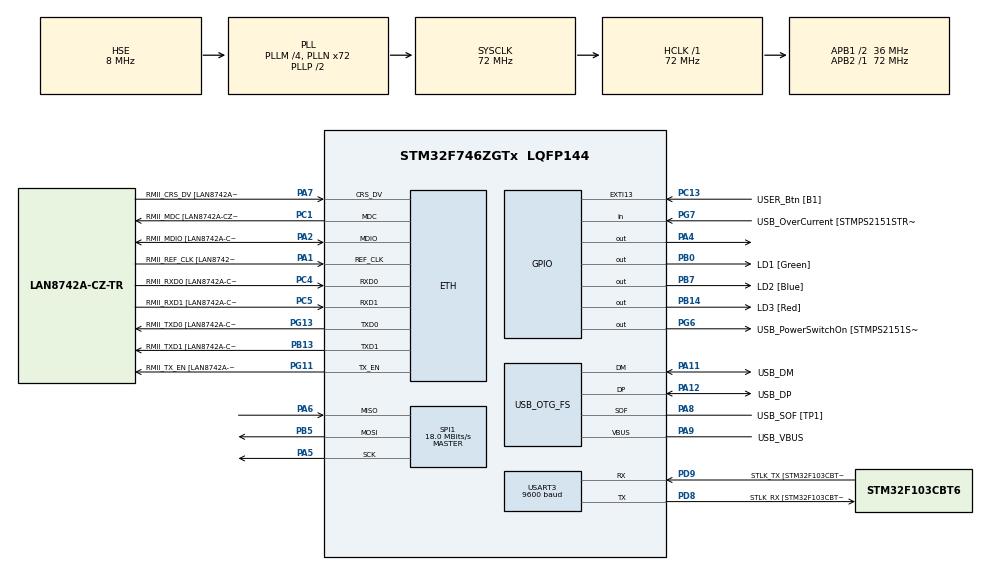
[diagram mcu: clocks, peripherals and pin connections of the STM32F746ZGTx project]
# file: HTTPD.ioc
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Dma.Request0=SPI1_RX
Dma.Request1=SPI1_TX
Dma.SPI1_RX.0.Direction=DMA_PERIPH_TO_MEMORY
Dma.SPI1_RX.0.FIFOMode=DMA_FIFOMODE_DISABLE
Dma.SPI1_RX.0.Instance=DMA2_Stream2
Dma.SPI1_RX.0.MemDataAlignment=DMA_MDATAALIGN_BYTE
Dma.SPI1_RX.0.MemInc=DMA_MINC_ENABLE
Dma.SPI1_RX.0.Mode=DMA_NORMAL
Dma.SPI1_RX.0.PeriphDataAlignment=DMA_PDATAALIGN_BYTE
Dma.SPI1_RX.0.PeriphInc=DMA_PINC_DISABLE
Dma.SPI1_RX.0.Priority=DMA_PRIORITY_LOW
Dma.SPI1_TX.1.Direction=DMA_MEMORY_TO_PERIPH
Dma.SPI1_TX.1.FIFOMode=DMA_FIFOMODE_DISABLE
Dma.SPI1_TX.1.Instance=DMA2_Stream3
Dma.SPI1_TX.1.MemDataAlignment=DMA_MDATAALIGN_BYTE
Dma.SPI1_TX.1.MemInc=DMA_MINC_ENABLE
Dma.SPI1_TX.1.Mode=DMA_NORMAL
Dma.SPI1_TX.1.PeriphDataAlignment=DMA_PDATAALIGN_BYTE
Dma.SPI1_TX.1.PeriphInc=DMA_PINC_DISABLE
Dma.SPI1_TX.1.Priority=DMA_PRIORITY_LOW
ETH.MediaInterface=HAL_ETH_RMII_MODE
ETH.PHY_Name=LAN8742A_PHY_ADDRESS
ETH.PHY_Value=0
ETH.PhyAddress=0
LWIP.BSP.number=1
LWIP.LWIP_HTTPD=1
LWIP.LWIP_HTTPD_CGI=1
LWIP.LWIP_HTTPD_SSI=1
LWIP.Version=v2.1.2_Cube
LWIP0.BSP.STBoard=false
LWIP0.BSP.api=BSP_COMPONENT_DRIVER
LWIP0.BSP.component=LAN8742
LWIP0.BSP.instance=LAN8742
LWIP0.BSP.name=Driver_PHY
LWIP0.BSP.semaphore=S_LAN8742
LWIP0.BSP.solution=LAN8742
Mcu.Family=STM32F7
Mcu.Name=STM32F746ZGTx
Mcu.Package=LQFP144
NVIC.DMA2_Stream2_IRQn=true\:0\:0\:false\:false\:true\:false\:true\:true
NVIC.DMA2_Stream3_IRQn=true\:0\:0\:false\:false\:true\:false\:true\:true
NVIC.ETH_IRQn=true\:0\:0\:false\:false\:false\:true\:true\:true
NVIC.PriorityGroup=NVIC_PRIORITYGROUP_4
PA1.GPIO_Label=RMII_REF_CLK [LAN8742A-CZ-TR_REFCLK0]
PA1.Mode=RMII
PA1.Signal=ETH_REF_CLK
PA10.GPIO_Label=USB_ID
PA10.Signal=USB_OTG_FS_ID
PA11.GPIO_Label=USB_DM
PA11.Mode=Device_Only
PA11.Signal=USB_OTG_FS_DM
PA12.GPIO_Label=USB_DP
PA12.Mode=Device_Only
PA12.Signal=USB_OTG_FS_DP
PA13.GPIO_Label=TMS
PA13.Mode=Serial_Wire
PA13.Signal=SYS_JTMS-SWDIO
PA14.GPIO_Label=TCK
PA14.Mode=Serial_Wire
PA14.Signal=SYS_JTCK-SWCLK
PA2.GPIO_Label=RMII_MDIO [LAN8742A-CZ-TR_MDIO]
PA2.Mode=RMII
PA2.Signal=ETH_MDIO
PA4.Signal=GPIO_Output
PA5.Mode=Full_Duplex_Master
PA5.Signal=SPI1_SCK
PA6.Mode=Full_Duplex_Master
PA6.Signal=SPI1_MISO
PA7.GPIO_Label=RMII_CRS_DV [LAN8742A-CZ-TR_CRS_DV]
PA7.Mode=RMII
PA7.Signal=ETH_CRS_DV
PA8.GPIO_Label=USB_SOF [TP1]
PA8.Mode=Activate_SOF_FS
PA8.Signal=USB_OTG_FS_SOF
PA9.GPIO_Label=USB_VBUS
PA9.Mode=Activate_VBUS
PA9.Signal=USB_OTG_FS_VBUS
PB0.GPIO_Label=LD1 [Green]
PB0.Signal=GPIO_Output
PB13.GPIO_Label=RMII_TXD1 [LAN8742A-CZ-TR_TXD1]
PB13.Mode=RMII
PB13.Signal=ETH_TXD1
PB14.GPIO_Label=LD3 [Red]
PB14.Signal=GPIO_Output
PB3.GPIO_Label=SW0
PB3.Signal=SYS_JTDO-SWO
PB5.Mode=Full_Duplex_Master
PB5.Signal=SPI1_MOSI
PB7.GPIO_Label=LD2 [Blue]
PB7.Signal=GPIO_Output
PC1.GPIO_Label=RMII_MDC [LAN8742A-CZ-TR_MDC]
PC1.Mode=RMII
PC1.Signal=ETH_MDC
PC13.GPIO_Label=USER_Btn [B1]
PC13.Signal=GPXTI13
PC14/OSC32_IN.Mode=LSE-External-Oscillator
PC14/OSC32_IN.Signal=RCC_OSC32_IN
PC15/OSC32_OUT.Mode=LSE-External-Oscillator
PC15/OSC32_OUT.Signal=RCC_OSC32_OUT
PC4.GPIO_Label=RMII_RXD0 [LAN8742A-CZ-TR_RXD0]
PC4.Mode=RMII
PC4.Signal=ETH_RXD0
PC5.GPIO_Label=RMII_RXD1 [LAN8742A-CZ-TR_RXD1]
PC5.Mode=RMII
PC5.Signal=ETH_RXD1
PD8.GPIO_Label=STLK_RX [STM32F103CBT6_PA3]
PD8.GPIO_PuPd=GPIO_PULLUP
PD8.Mode=Asynchronous
PD8.Signal=USART3_TX
PD9.GPIO_Label=STLK_TX [STM32F103CBT6_PA2]
PD9.GPIO_PuPd=GPIO_PULLUP
PD9.Mode=Asynchronous
PD9.Signal=USART3_RX
PG11.GPIO_Label=RMII_TX_EN [LAN8742A-CZ-TR_TXEN]
PG11.Mode=RMII
PG11.Signal=ETH_TX_EN
PG13.GPIO_Label=RMII_TXD0 [LAN8742A-CZ-TR_TXD0]
PG13.Mode=RMII
PG13.Signal=ETH_TXD0
PG6.GPIO_Label=USB_PowerSwitchOn [STMPS2151STR_EN]
PG6.Signal=GPIO_Output
PG7.GPIO_Label=USB_OverCurrent [STMPS2151STR_FAULT]
PG7.Signal=GPIO_Input
PH0/OSC_IN.GPIO_Label=MCO [STM32F103CBT6_PA8]
PH0/OSC_IN.Mode=HSE-External-Clock-Source
PH0/OSC_IN.Signal=RCC_OSC_IN
PH1/OSC_OUT.Mode=HSE-External-Clock-Source
PH1/OSC_OUT.Signal=RCC_OSC_OUT
ProjectManager.HeapSize=0x200
ProjectManager.StackSize=0x400
ProjectManager.TargetToolchain=STM32CubeIDE
RCC.48MHZClocksFreq_Value=24000000
RCC.AHBFreq_Value=72000000
RCC.APB1CLKDivider=RCC_HCLK_DIV2
RCC.APB1Freq_Value=36000000
RCC.APB1TimFreq_Value=72000000
RCC.APB2Freq_Value=72000000
RCC.APB2TimFreq_Value=72000000
RCC.CortexFreq_Value=72000000
RCC.HCLKFreq_Value=72000000
RCC.HSE_VALUE=8000000
RCC.HSI_VALUE=16000000
RCC.PLLM=4
RCC.PLLMUL=RCC_PLL_MUL9
RCC.PLLN=72
RCC.PLLQ=3
RCC.PRESCALERUSB=RCC_USBCLKSOURCE_PLL_DIV1_5
RCC.SYSCLKFreq_VALUE=72000000
RCC.SYSCLKSource=RCC_SYSCLKSOURCE_PLLCLK
RCC.SYSCLKSourceVirtual=RCC_SYSCLKSOURCE_PLLCLK
RCC.USBFreq_Value=48000000
RCC.VCOOutputFreq_Value=144000000
SPI1.BaudRatePrescaler=SPI_BAUDRATEPRESCALER_4
SPI1.CalculateBaudRate=18.0 MBits/s
SPI1.DataSize=SPI_DATASIZE_8BIT
SPI1.Direction=SPI_DIRECTION_2LINES
SPI1.Mode=SPI_MODE_MASTER
SPI1.VirtualType=VM_MASTER
USART3.BaudRate=9600
USART3.VirtualMode-Asynchronous=VM_ASYNC
USB_OTG_FS.VirtualMode=Device_Only
VP_LWIP_VS_Enabled.Mode=Enabled
board=NUCLEO-F746ZG

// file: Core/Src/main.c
/* USER CODE BEGIN Header */
/**
  ******************************************************************************
  * @file           : main.c
  * @brief          : Main program body
  ******************************************************************************
  * @attention
  *
  * Copyright (c) 2024 STMicroelectronics.
  * All rights reserved.
  *
  * This software is licensed under terms that can be found in the LICENSE file
  * in the root directory of this software component.
  * If no LICENSE file comes with this software, it is provided AS-IS.
  *
  ******************************************************************************
  */
/* USER CODE END Header */
#include "main.h"
#include "lwip.h"

/* USER CODE BEGIN Includes */
#include "lwip/apps/httpd.h"
#include <stdio.h>
/* USER CODE END Includes */

SPI_HandleTypeDef hspi1;
DMA_HandleTypeDef hdma_spi1_rx;
DMA_HandleTypeDef hdma_spi1_tx;

UART_HandleTypeDef huart3;

PCD_HandleTypeDef hpcd_USB_OTG_FS;

void SystemClock_Config(void);
static void MX_GPIO_Init(void);
static void MX_DMA_Init(void);
static void MX_USB_OTG_FS_PCD_Init(void);
static void MX_SPI1_Init(void);
static void MX_USART3_UART_Init(void);

/* USER CODE BEGIN 0 */
char temperature1[16];
char pressure1[16];
char humidity1[16];
uint8_t green = 0;
uint8_t blue = 0;
uint8_t red = 0;
uint8_t tempread[8];
uint8_t config[2];
uint8_t addr[1];
uint8_t comp[32];
uint8_t buf[2];
char uart_buf[50];
int uart_len;
int indx;
volatile int temperature_raw;
volatile int pressure_raw;
volatile int humidity_raw;
int finaltemp = 0;
double finalpres;
double finalhumid;
int t_fine = 0;
float outtemp, outpres, outhum;
unsigned short dig_T1, dig_P1, dig_H1, dig_H3;
signed short dig_T2, dig_T3, dig_P2, dig_P3, dig_P4, dig_P5, dig_P6, dig_P7, dig_P8, dig_P9,
dig_H2, dig_H4, dig_H5, dig_H6;
const char *LEDGREEN(int index, int numParams, char *pcParam[], char *pcValue)
{
	if(green == 0)
	{
		green++;
	}
	else if(green == 1)
	{
		green--;
	}
	return "/LED.html";
}
const char *LEDRED(int LED, int numParam, char *pcParam[], char *pcValue)
{
	if(red == 0)
	{
		red++;
	}
	else if(red == 1)
	{
		red--;
	}
	return "/LED.html";
}
const char *LEDBLUE(int LED, int numParams, char *pcParam[], char *pcValue)
{
	if(blue == 0)
	{
		blue++;
	}
	else if(blue == 1)
	{
		blue--;
	}
	return "/LED.html";
}

static u16_t ssi_handler(int iIndex, char *pcInsert, int iInsertLen) {
    switch (iIndex) {
        case 0: sprintf(pcInsert, "%s", finaltemp);
        break;
        case 1: sprintf(pcInsert, "%s", finalpres);
        break;
        case 2: sprintf(pcInsert, "%s", finalhumid);
        break;
    }
return  0;
}

char const *ssi_tags[] = {
    "x",
    "y",
    "z",
};

void Get_ID()
{
	addr[0] = 0xD0;
	HAL_GPIO_WritePin(GPIOA, GPIO_PIN_4, GPIO_PIN_RESET);
	HAL_SPI_Transmit_DMA(&hspi1, addr, 1);
	HAL_SPI_Receive_DMA(&hspi1, buf, 1);
	HAL_GPIO_WritePin(GPIOA, GPIO_PIN_4, GPIO_PIN_SET);
}

void Wake_Up()
{
	config[0] = 0x74;
	config[1] = 0x25;
	HAL_GPIO_WritePin(GPIOA, GPIO_PIN_4, GPIO_PIN_RESET);
	HAL_SPI_Transmit_DMA(&hspi1, config, 2);
	HAL_GPIO_WritePin(GPIOA, GPIO_PIN_4, GPIO_PIN_SET);

	config[0] = 0x75;
	config[1] = 0xA0;
	HAL_GPIO_WritePin(GPIOA, GPIO_PIN_4, GPIO_PIN_RESET);
	HAL_SPI_Transmit_DMA(&hspi1, config, 2);
	HAL_GPIO_WritePin(GPIOA, GPIO_PIN_4, GPIO_PIN_SET);

	config[0] = 0x72;
	config[1] = 0x01;
	HAL_GPIO_WritePin(GPIOA, GPIO_PIN_4, GPIO_PIN_RESET);
	HAL_SPI_Transmit_DMA(&hspi1, config, 2);
	HAL_GPIO_WritePin(GPIOA, GPIO_PIN_4, GPIO_PIN_SET);
}

void Get_Trimming_Data()
{
	addr[0] = 0x88;
	HAL_GPIO_WritePin(GPIOA, GPIO_PIN_4, GPIO_PIN_RESET);
	HAL_SPI_Transmit_DMA(&hspi1, addr, 1);
	HAL_SPI_Receive_DMA(&hspi1, comp, 6);
	HAL_GPIO_WritePin(GPIOA, GPIO_PIN_4, GPIO_PIN_SET);

	dig_T1 = (comp[0])+(comp[1]<<8);
	dig_T2 = (comp[2])+(comp[3]<<8);
	dig_T3 = (comp[4])+(comp[5]<<8);
}

void Get_Trim_Press()
{
	addr[0] = 0x8E;
	HAL_GPIO_WritePin(GPIOA, GPIO_PIN_4, GPIO_PIN_RESET);
	HAL_SPI_Transmit_DMA(&hspi1, addr, 1);
	HAL_SPI_Receive_DMA(&hspi1, comp, 20);
	HAL_GPIO_WritePin(GPIOA, GPIO_PIN_4, GPIO_PIN_SET);
	dig_P1 = (comp[0])+(comp[1]<<8);
	dig_P2 = (comp[2])+(comp[3]<<8);
	dig_P3 = (comp[4])+(comp[5]<<8);
	dig_P4 = (comp[6])+(comp[7]<<8);
	dig_P5 = (comp[8])+(comp[9]<<8);
	dig_P6 = (comp[10])+(comp[11]<<8);
	dig_P7 = (comp[12])+(comp[13]<<8);
	dig_P8 = (comp[14])+(comp[15]<<8);
	dig_P9 = (comp[16])+(comp[17]<<8);
	dig_H1 = (comp[19]);
}
void Get_Trim_Hum()
{
	addr[0] = 0xE1;
	HAL_GPIO_WritePin(GPIOA, GPIO_PIN_4, GPIO_PIN_RESET);
	HAL_SPI_Transmit_DMA(&hspi1, addr, 1);
	HAL_SPI_Receive_DMA(&hspi1, comp, 8);
	HAL_GPIO_WritePin(GPIOA, GPIO_PIN_4, GPIO_PIN_SET);
	dig_H2 = (comp[0])+(comp[1]<<8);
	dig_H3 = (comp[2]);
	dig_H4 = (comp[3]<<4)+(comp[4]>>4);
	dig_H5 = (comp[4]>>4)+(comp[5]<<4);
	dig_H6 = (comp[6]);
}
void Get_Raw_T()
{
	Wake_Up();
	addr[0] = 0xF7;
	HAL_GPIO_WritePin(GPIOA, GPIO_PIN_4, GPIO_PIN_RESET);
	HAL_SPI_Transmit_DMA(&hspi1, addr, 1);
	HAL_SPI_Receive_DMA(&hspi1, tempread, 8);
	HAL_GPIO_WritePin(GPIOA, GPIO_PIN_4, GPIO_PIN_SET);
	temperature_raw = (tempread[3]<<12)+(tempread[4]<<4)+(tempread[5]>>4);
}
void Get_Raw_P()
{
	Wake_Up();
	addr[0] = 0xF7;
	HAL_GPIO_WritePin(GPIOA, GPIO_PIN_4, GPIO_PIN_RESET);
	HAL_SPI_Transmit_DMA(&hspi1, addr, 1);
	HAL_SPI_Receive_DMA(&hspi1, tempread, 8);
	HAL_GPIO_WritePin(GPIOA, GPIO_PIN_4, GPIO_PIN_SET);
	pressure_raw = (tempread[0]<<12)+(tempread[1]<<4)+(tempread[2]>>4);
}
void Get_Raw_H()
{
	Wake_Up();
		addr[0] = 0xF7;
		HAL_GPIO_WritePin(GPIOA, GPIO_PIN_4, GPIO_PIN_RESET);
		HAL_SPI_Transmit_DMA(&hspi1, addr, 1);
		HAL_SPI_Receive_DMA(&hspi1, tempread, 8);
		HAL_GPIO_WritePin(GPIOA, GPIO_PIN_4, GPIO_PIN_SET);
		humidity_raw = (tempread[6]<<8)+(tempread[7]);
	}

void Compensate_T()
{
	int var1, var2;
	var1 = ((((temperature_raw >> 3)-((int)dig_T1 << 1)))*((int)dig_T2)) >> 11;
	var2 = (((((temperature_raw >> 4)- ((int)dig_T1))*((temperature_raw >> 4)-((int)dig_T1)))>> 12)*((int)dig_T3)) >> 14;
	t_fine =(var1 + var2);
	finaltemp = (t_fine * 5 +128) >> 8;
}
void Compensate_P()
{
	double var1, var2;
	var1 = ((double)t_fine/2.0)- 64000.0;
	var2 = var1 * var1 * ((double)dig_P6 / 32768.0);
	var2 = var2 + var1 * ((double)dig_P5) * 2.0;
	var2 = (var2/4.0) + (((double)dig_P4) * 65536.0);
	var1 = (((double)dig_P3) * var1 * var1 /524288.0 + ((double)dig_P2) * var1) / 524288.0;
	var1 = (1.0+var1 / 32768.0)*((double)dig_P1);
	if (var1 == 0.0)
	{
		return 0;
	}
	finalpres = 1048576.0 - (double)pressure_raw;
	finalpres = (finalpres-(var2/4096.0))* 6250.0 / var1;
	var1 = ((double)dig_P9)*finalpres*finalpres / 2147483648.0;
	var2 = finalpres *((double)dig_P8) / 32768.0;
	finalpres = finalpres + (var1 + var2 + ((double)dig_P7)) / 16.0;
}

void Componsate_H()
{
	finalhumid = (((double)t_fine)- 76800.0);
	finalhumid = (humidity_raw - (((double)dig_H4)*64.0 + ((double)dig_H5)/ 16384.0 *
			finalhumid)) * (((double)dig_H2) / 65536.0 * (1.0 + ((double)dig_H6) /
					67108864.0 * finalhumid * (1.0 + ((double)dig_H3)/ 67108864.0 * finalhumid)));
	finalhumid = finalhumid * (1.0 - ((double)dig_H1) * finalhumid / 54288.0);
	if(finalhumid > 100)
		finalhumid = 100.0;
	else if (finalhumid < 0.0)
		finalhumid = 0.0;

}
/* USER CODE END 0 */

int main(void)
{

  /* USER CODE BEGIN 1 */
	const tCGI LED[] = {
	  {
	    "/led_green.cgi",
		LEDGREEN
	  },
	  {
	    "/led_blue.cgi",
	    LEDBLUE
	  },
	  {
		"/led_red.cgi",
		LEDRED
	  }
	};

  /* USER CODE END 1 */

  /* MCU Configuration--------------------------------------------------------*/

  /* Reset of all peripherals, Initializes the Flash interface and the Systick. */
  HAL_Init();

  /* Configure the system clock */
  SystemClock_Config();

  /* Initialize all configured peripherals */
  MX_GPIO_Init();
  MX_DMA_Init();
  MX_USB_OTG_FS_PCD_Init();
  MX_LWIP_Init();
  MX_SPI1_Init();
  MX_USART3_UART_Init();
  /* USER CODE BEGIN 2 */
  httpd_init();
  http_set_cgi_handlers(LED, LWIP_ARRAYSIZE(LED));
  http_set_ssi_handler(ssi_handler,ssi_tags, LWIP_ARRAYSIZE(ssi_tags));
  HAL_GPIO_WritePin(GPIOA, GPIO_PIN_4, GPIO_PIN_SET);

  Get_ID();
  Wake_Up();

  Get_Trimming_Data();
  Get_Trim_Press();
  Get_Trim_Hum();

  uart_len = sprintf(uart_buf, "ID_0x%02x\r\n", buf[0]);
  HAL_UART_Transmit(&huart3, (uint8_t *)uart_buf, uart_len, 100);
  uart_len = sprintf(uart_buf, "T1_%d\r\n", dig_T1);
  HAL_UART_Transmit(&huart3, (uint8_t *)uart_buf, uart_len, 100);
  uart_len = sprintf(uart_buf, "T2_%d\r\n", dig_T2);
  HAL_UART_Transmit(&huart3, (uint8_t *)uart_buf, uart_len, 100);
  uart_len = sprintf(uart_buf, "T3_%d\r\n", dig_T3);
  HAL_UART_Transmit(&huart3, (uint8_t *)uart_buf, uart_len, 100);
  uart_len = sprintf(uart_buf, "P1_%d\r\n", dig_P1);
  HAL_UART_Transmit(&huart3, (uint8_t *)uart_buf, uart_len, 100);
  uart_len = sprintf(uart_buf, "P2_%d\r\n", dig_P2);
  HAL_UART_Transmit(&huart3, (uint8_t *)uart_buf, uart_len, 100);
  uart_len = sprintf(uart_buf, "P3_%d\r\n", dig_P3);
  HAL_UART_Transmit(&huart3, (uint8_t *)uart_buf, uart_len, 100);
  uart_len = sprintf(uart_buf, "P4_%d\r\n", dig_P4);
  HAL_UART_Transmit(&huart3, (uint8_t *)uart_buf, uart_len, 100);
  uart_len = sprintf(uart_buf, "P5_%d\r\n", dig_P5);
  HAL_UART_Transmit(&huart3, (uint8_t *)uart_buf, uart_len, 100);
  uart_len = sprintf(uart_buf, "P6_%d\r\n", dig_P6);
  HAL_UART_Transmit(&huart3, (uint8_t *)uart_buf, uart_len, 100);
  uart_len = sprintf(uart_buf, "P7_%d\r\n", dig_P7);
  HAL_UART_Transmit(&huart3, (uint8_t *)uart_buf, uart_len, 100);
  uart_len = sprintf(uart_buf, "P8_%d\r\n", dig_P8);
  HAL_UART_Transmit(&huart3, (uint8_t *)uart_buf, uart_len, 100);
  uart_len = sprintf(uart_buf, "P9_%d\r\n", dig_P9);
  HAL_UART_Transmit(&huart3, (uint8_t *)uart_buf, uart_len, 100);
  uart_len = sprintf(uart_buf, "H1_%d\r\n", dig_H1);
  HAL_UART_Transmit(&huart3, (uint8_t *)uart_buf, uart_len, 100);
  uart_len = sprintf(uart_buf, "H2_%d\r\n", dig_H2);
  HAL_UART_Transmit(&huart3, (uint8_t *)uart_buf, uart_len, 100);
  uart_len = sprintf(uart_buf, "H3_%d\r\n", dig_H3);
  HAL_UART_Transmit(&huart3, (uint8_t *)uart_buf, uart_len, 100);
  uart_len = sprintf(uart_buf, "H4_%d\r\n", dig_H4);
  HAL_UART_Transmit(&huart3, (uint8_t *)uart_buf, uart_len, 100);
  uart_len = sprintf(uart_buf, "H5_%d\r\n", dig_H5);
  HAL_UART_Transmit(&huart3, (uint8_t *)uart_buf, uart_len, 100);
  uart_len = sprintf(uart_buf, "H6_%d\r\n", humidity_raw);
  HAL_UART_Transmit(&huart3, (uint8_t *)uart_buf, uart_len, 100);
  /* USER CODE END 2 */

  /* Infinite loop */
  /* USER CODE BEGIN WHILE */
  while (1)
  {
	  MX_LWIP_Process();
    /* USER CODE END WHILE */

    /* USER CODE BEGIN 3 */
	  Get_Raw_T();
	  Get_Raw_P();
	  Get_Raw_H();
	  Compensate_T();
	  Compensate_P();
	  Componsate_H();
	  outtemp = (float)finaltemp / 100;
	  uart_len = sprintf(uart_buf, "TEMP_%0.2f\r\n", outtemp);
	  HAL_UART_Transmit(&huart3, (uint8_t *)uart_buf, uart_len, 100);

	  outpres = (float)finalpres;
	  uart_len = sprintf(uart_buf, "PRESS_%0.1f\r\n", outpres);
	  HAL_UART_Transmit(&huart3, (uint8_t *)uart_buf, uart_len, 100);

	  outhum = (float)finalhumid;
	  uart_len = sprintf(uart_buf, "HUM_%0.1f\r\n", outhum);
	  HAL_UART_Transmit(&huart3, (uint8_t *)uart_buf, uart_len, 100);

	  if(green == 1)
	  {
		  HAL_GPIO_WritePin(GPIOB, GPIO_PIN_0, GPIO_PIN_SET);

	  }
	  else if(green==0)
	  {
		  HAL_GPIO_WritePin(GPIOB, GPIO_PIN_0, GPIO_PIN_RESET);
	  }
	  if(blue == 1)
	  {
		  HAL_GPIO_WritePin(GPIOB, GPIO_PIN_7, GPIO_PIN_SET);

	  }
	  else if(blue==0)
	  {
		  HAL_GPIO_WritePin(GPIOB, GPIO_PIN_7, GPIO_PIN_RESET);
	  }
	  if(red == 1)
	  {
		  HAL_GPIO_WritePin(GPIOB, GPIO_PIN_14, GPIO_PIN_SET);

	  }
	  else if(red==0)
	  {
		  HAL_GPIO_WritePin(GPIOB, GPIO_PIN_14, GPIO_PIN_RESET);
	  }
  }
  /* USER CODE END 3 */
}

void SystemClock_Config(void)
{
  RCC_OscInitTypeDef RCC_OscInitStruct = {0};
  RCC_ClkInitTypeDef RCC_ClkInitStruct = {0};

  /** Configure LSE Drive Capability
  */
  HAL_PWR_EnableBkUpAccess();

  /** Configure the main internal regulator output voltage
  */
  __HAL_RCC_PWR_CLK_ENABLE();
  __HAL_PWR_VOLTAGESCALING_CONFIG(PWR_REGULATOR_VOLTAGE_SCALE3);

  /** Initializes the RCC Oscillators according to the specified parameters
  * in the RCC_OscInitTypeDef structure.
  */
  RCC_OscInitStruct.OscillatorType = RCC_OSCILLATORTYPE_HSE;
  RCC_OscInitStruct.HSEState = RCC_HSE_BYPASS;
  RCC_OscInitStruct.PLL.PLLState = RCC_PLL_ON;
  RCC_OscInitStruct.PLL.PLLSource = RCC_PLLSOURCE_HSE;
  RCC_OscInitStruct.PLL.PLLM = 4;
  RCC_OscInitStruct.PLL.PLLN = 72;
  RCC_OscInitStruct.PLL.PLLP = RCC_PLLP_DIV2;
  RCC_OscInitStruct.PLL.PLLQ = 3;
  if (HAL_RCC_OscConfig(&RCC_OscInitStruct) != HAL_OK)
  {
    Error_Handler();
  }

  /** Initializes the CPU, AHB and APB buses clocks
  */
  RCC_ClkInitStruct.ClockType = RCC_CLOCKTYPE_HCLK|RCC_CLOCKTYPE_SYSCLK
                              |RCC_CLOCKTYPE_PCLK1|RCC_CLOCKTYPE_PCLK2;
  RCC_ClkInitStruct.SYSCLKSource = RCC_SYSCLKSOURCE_PLLCLK;
  RCC_ClkInitStruct.AHBCLKDivider = RCC_SYSCLK_DIV1;
  RCC_ClkInitStruct.APB1CLKDivider = RCC_HCLK_DIV2;
  RCC_ClkInitStruct.APB2CLKDivider = RCC_HCLK_DIV1;

  if (HAL_RCC_ClockConfig(&RCC_ClkInitStruct, FLASH_LATENCY_2) != HAL_OK)
  {
    Error_Handler();
  }
}

static void MX_SPI1_Init(void)
{

  /* SPI1 parameter configuration*/
  hspi1.Instance = SPI1;
  hspi1.Init.Mode = SPI_MODE_MASTER;
  hspi1.Init.Direction = SPI_DIRECTION_2LINES;
  hspi1.Init.DataSize = SPI_DATASIZE_8BIT;
  hspi1.Init.CLKPolarity = SPI_POLARITY_LOW;
  hspi1.Init.CLKPhase = SPI_PHASE_1EDGE;
  hspi1.Init.NSS = SPI_NSS_SOFT;
  hspi1.Init.BaudRatePrescaler = SPI_BAUDRATEPRESCALER_4;
  hspi1.Init.FirstBit = SPI_FIRSTBIT_MSB;
  hspi1.Init.TIMode = SPI_TIMODE_DISABLE;
  hspi1.Init.CRCCalculation = SPI_CRCCALCULATION_DISABLE;
  hspi1.Init.CRCPolynomial = 7;
  hspi1.Init.CRCLength = SPI_CRC_LENGTH_DATASIZE;
  hspi1.Init.NSSPMode = SPI_NSS_PULSE_ENABLE;
  if (HAL_SPI_Init(&hspi1) != HAL_OK)
  {
    Error_Handler();
  }

}

static void MX_USART3_UART_Init(void)
{

  huart3.Instance = USART3;
  huart3.Init.BaudRate = 9600;
  huart3.Init.WordLength = UART_WORDLENGTH_8B;
  huart3.Init.StopBits = UART_STOPBITS_1;
  huart3.Init.Parity = UART_PARITY_NONE;
  huart3.Init.Mode = UART_MODE_TX_RX;
  huart3.Init.HwFlowCtl = UART_HWCONTROL_NONE;
  huart3.Init.OverSampling = UART_OVERSAMPLING_16;
  huart3.Init.OneBitSampling = UART_ONE_BIT_SAMPLE_DISABLE;
  huart3.AdvancedInit.AdvFeatureInit = UART_ADVFEATURE_NO_INIT;
  if (HAL_UART_Init(&huart3) != HAL_OK)
  {
    Error_Handler();
  }

}

static void MX_USB_OTG_FS_PCD_Init(void)
{

  hpcd_USB_OTG_FS.Instance = USB_OTG_FS;
  hpcd_USB_OTG_FS.Init.dev_endpoints = 6;
  hpcd_USB_OTG_FS.Init.speed = PCD_SPEED_FULL;
  hpcd_USB_OTG_FS.Init.dma_enable = DISABLE;
  hpcd_USB_OTG_FS.Init.phy_itface = PCD_PHY_EMBEDDED;
  hpcd_USB_OTG_FS.Init.Sof_enable = ENABLE;
  hpcd_USB_OTG_FS.Init.low_power_enable = DISABLE;
  hpcd_USB_OTG_FS.Init.lpm_enable = DISABLE;
  hpcd_USB_OTG_FS.Init.vbus_sensing_enable = ENABLE;
  hpcd_USB_OTG_FS.Init.use_dedicated_ep1 = DISABLE;
  if (HAL_PCD_Init(&hpcd_USB_OTG_FS) != HAL_OK)
  {
    Error_Handler();
  }

}

static void MX_DMA_Init(void)
{

  /* DMA controller clock enable */
  __HAL_RCC_DMA2_CLK_ENABLE();

  /* DMA interrupt init */
  /* DMA2_Stream2_IRQn interrupt configuration */
  HAL_NVIC_SetPriority(DMA2_Stream2_IRQn, 0, 0);
  HAL_NVIC_EnableIRQ(DMA2_Stream2_IRQn);
  /* DMA2_Stream3_IRQn interrupt configuration */
  HAL_NVIC_SetPriority(DMA2_Stream3_IRQn, 0, 0);
  HAL_NVIC_EnableIRQ(DMA2_Stream3_IRQn);

}

static void MX_GPIO_Init(void)
{
  GPIO_InitTypeDef GPIO_InitStruct = {0};

  /* GPIO Ports Clock Enable */
  __HAL_RCC_GPIOC_CLK_ENABLE();
  __HAL_RCC_GPIOH_CLK_ENABLE();
  __HAL_RCC_GPIOA_CLK_ENABLE();
  __HAL_RCC_GPIOB_CLK_ENABLE();
  __HAL_RCC_GPIOD_CLK_ENABLE();
  __HAL_RCC_GPIOG_CLK_ENABLE();

  /*Configure GPIO pin Output Level */
  HAL_GPIO_WritePin(GPIOA, GPIO_PIN_4, GPIO_PIN_RESET);

  /*Configure GPIO pin Output Level */
  HAL_GPIO_WritePin(GPIOB, LD1_Pin|LD3_Pin|LD2_Pin, GPIO_PIN_RESET);

  /*Configure GPIO pin Output Level */
  HAL_GPIO_WritePin(USB_PowerSwitchOn_GPIO_Port, USB_PowerSwitchOn_Pin, GPIO_PIN_RESET);

  /*Configure GPIO pin : USER_Btn_Pin */
  GPIO_InitStruct.Pin = USER_Btn_Pin;
  GPIO_InitStruct.Mode = GPIO_MODE_IT_RISING;
  GPIO_InitStruct.Pull = GPIO_NOPULL;
  HAL_GPIO_Init(USER_Btn_GPIO_Port, &GPIO_InitStruct);

  /*Configure GPIO pin : PA4 */
  GPIO_InitStruct.Pin = GPIO_PIN_4;
  GPIO_InitStruct.Mode = GPIO_MODE_OUTPUT_PP;
  GPIO_InitStruct.Pull = GPIO_NOPULL;
  GPIO_InitStruct.Speed = GPIO_SPEED_FREQ_LOW;
  HAL_GPIO_Init(GPIOA, &GPIO_InitStruct);

  /*Configure GPIO pins : LD1_Pin LD3_Pin LD2_Pin */
  GPIO_InitStruct.Pin = LD1_Pin|LD3_Pin|LD2_Pin;
  GPIO_InitStruct.Mode = GPIO_MODE_OUTPUT_PP;
  GPIO_InitStruct.Pull = GPIO_NOPULL;
  GPIO_InitStruct.Speed = GPIO_SPEED_FREQ_LOW;
  HAL_GPIO_Init(GPIOB, &GPIO_InitStruct);

  /*Configure GPIO pin : USB_PowerSwitchOn_Pin */
  GPIO_InitStruct.Pin = USB_PowerSwitchOn_Pin;
  GPIO_InitStruct.Mode = GPIO_MODE_OUTPUT_PP;
  GPIO_InitStruct.Pull = GPIO_NOPULL;
  GPIO_InitStruct.Speed = GPIO_SPEED_FREQ_LOW;
  HAL_GPIO_Init(USB_PowerSwitchOn_GPIO_Port, &GPIO_InitStruct);

  /*Configure GPIO pin : USB_OverCurrent_Pin */
  GPIO_InitStruct.Pin = USB_OverCurrent_Pin;
  GPIO_InitStruct.Mode = GPIO_MODE_INPUT;
  GPIO_InitStruct.Pull = GPIO_NOPULL;
  HAL_GPIO_Init(USB_OverCurrent_GPIO_Port, &GPIO_InitStruct);

}

void Error_Handler(void)
{
  __disable_irq();
  while (1)
  {
  }
}
